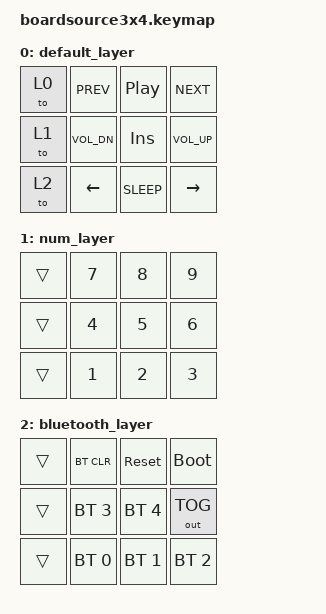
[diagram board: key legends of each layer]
/*
 * Copyright (c) 2020 The ZMK Contributors
 *
 * SPDX-License-Identifier: MIT
 */

#include <behaviors.dtsi>
#include <dt-bindings/zmk/bt.h>
#include <dt-bindings/zmk/keys.h>
#include <dt-bindings/zmk/outputs.h>

/ {
    keymap {
        compatible = "zmk,keymap";

        default_layer {
            bindings = <
&to 0  &kp C_PREV    &kp C_PP     &kp C_NEXT
&to 1  &kp C_VOL_DN  &kp INSERT   &kp C_VOL_UP
&to 2  &kp LEFT      &kp K_SLEEP  &kp RIGHT
            >;
        };

        num_layer {
            bindings = <
&trans  &kp N7  &kp N8  &kp N9
&trans  &kp N4  &kp N5  &kp N6
&trans  &kp N1  &kp N2  &kp N3
            >;
        };

        bluetooth_layer {
            bindings = <
&trans  &bt BT_CLR    &sys_reset    &bootloader
&trans  &bt BT_SEL 3  &bt BT_SEL 4  &out OUT_TOG
&trans  &bt BT_SEL 0  &bt BT_SEL 1  &bt BT_SEL 2
            >;
        };
    };
};
